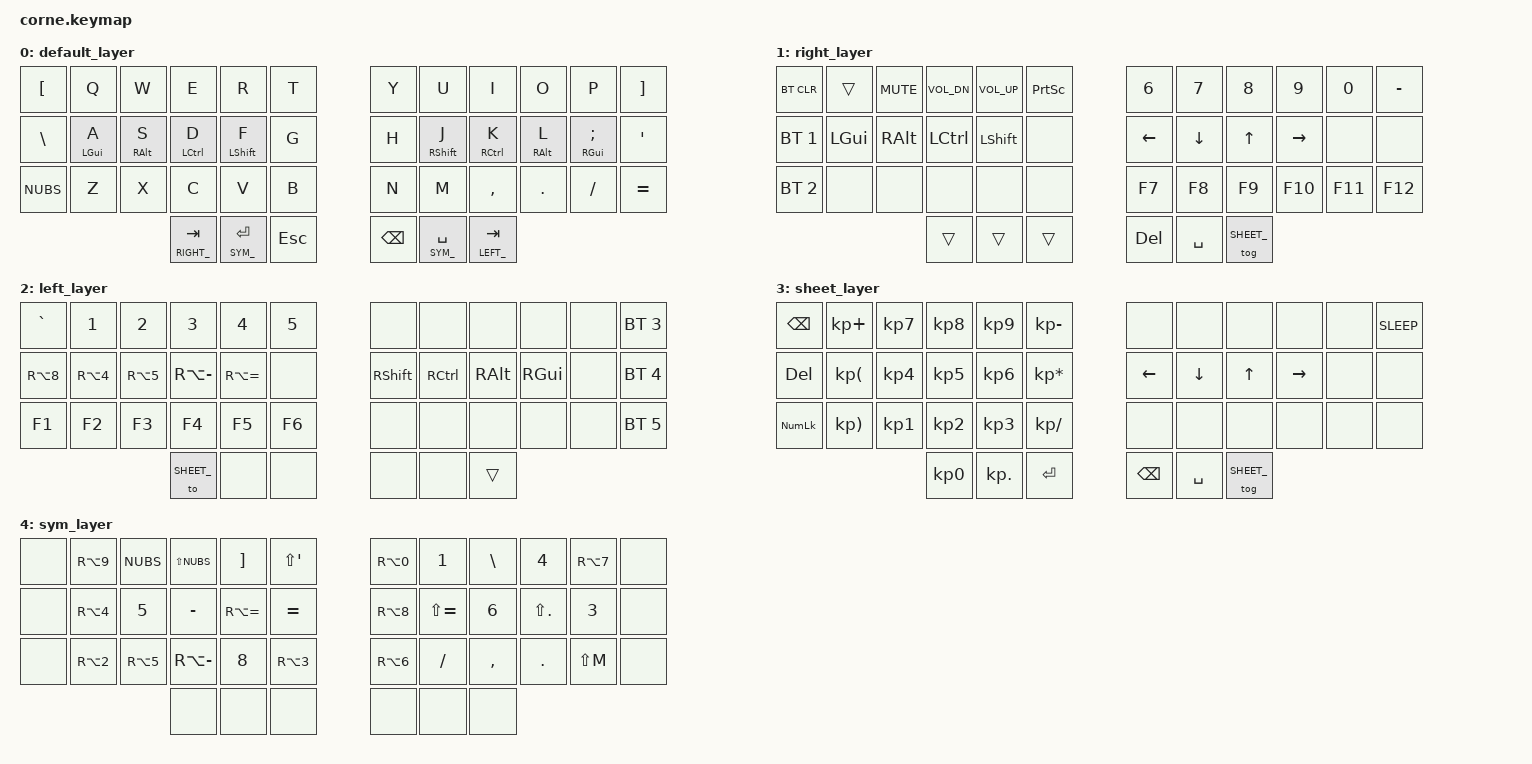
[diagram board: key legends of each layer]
#include <behaviors.dtsi>
#include <dt-bindings/zmk/bt.h>
#include <dt-bindings/zmk/keys.h>

#define DEFAULT 0
#define RIGHT_   1
#define LEFT_    2
#define SHEET_   3
#define SYM_    4

/ {
    behaviors {
        hm: homerow_mods {
            compatible = "zmk,behavior-hold-tap";
            label = "HOMEROW_MODS";
            #binding-cells = <2>;
            tapping-term-ms = <200>;
            quick-tap-ms = <0>;
            flavor = "balanced";
            bindings = <&kp>, <&kp>;
        };
    };

    combos {
        #include "combos.dtsi"
    };

    keymap {
        compatible = "zmk,keymap";

        default_layer {
            // -----------------------------------------------------------------------------------------
            // | [ |  Q  |  W  |  E  |  R  |  T  |   |  Y  |  U   |  I  |  O  |  P  | ] |
            // | \ |  A  |  S  |  D  |  F  |  G  |   |  H  |  J   |  K  |  L  |  ;  |  '   |
            // | < |  Z  |  X  |  C  |  V  |  B  |   |  N  |  M   |  ,  |  .  |  /  | =  |
            //                 | TAB | RET | ESC |   | BKSP | SP  | TAB |

            bindings = <
&kp LBKT  &kp Q       &kp W       &kp E           &kp R        &kp T      &kp Y     &kp U        &kp I          &kp O       &kp P          &kp RBKT
&kp BSLH  &hm LGUI A  &hm RALT S  &hm LCTRL D     &hm LSHFT F  &kp G      &kp H     &hm RSHFT J  &hm RCTRL K    &hm RALT L  &hm RGUI SEMI  &kp SQT
&kp NUBS   &kp Z       &kp X       &kp C           &kp V        &kp B      &kp N     &kp M        &kp COMMA      &kp DOT     &kp FSLH       &kp EQUAL
                                  &lt RIGHT_ TAB  &lt SYM_ RET      &kp ESC    &kp BSPC  &lt SYM_ SPACE    &lt LEFT_ TAB
            >;
        };

        right_layer {
            // -----------------------------------------------------------------------------------------
            // | BTCLR |     |  mute | vold | volu | printS  |    |  6    |  7  |  8  |  9   |  0   | -    |
            // | BT1  | LGUI | RALT | LCTRL | LSHFT |        |    |  LFT  | DWN |  UP | RGT  |      |      |
            // | BT2  |     |     |     |     |     |        |    |  F7   | F8  |  F9 | F10  |  F11 | F12  |
            //                             |     |     |     |    | DEL | SPACE | tog SHEET_ |

            bindings = <
&bt BT_CLR    &trans    &kp C_MUTE  &kp C_VOL_DN  &kp C_VOL_UP  &kp PSCRN    &kp N6    &kp N7     &kp N8       &kp N9     &kp N0   &kp MINUS
&bt BT_SEL 1  &kp LGUI  &kp RALT    &kp LCTRL     &kp LSHFT     &none        &kp LEFT  &kp DOWN   &kp UP       &kp RIGHT  &none    &none
&bt BT_SEL 2  &none     &none       &none         &none         &none        &kp F7    &kp F8     &kp F9       &kp F10    &kp F11  &kp F12
                                    &trans        &trans        &trans       &kp DEL   &kp SPACE  &tog SHEET_
            >;
        };

        left_layer {
            // -----------------------------------------------------------------------------------------
            // |  GRAVE |  1  |  2  |  3  |  4  |  5  |     |    |         |         |        |        | BT3  |
            // |  \     | {   | [   | ]   | }   |     |    | RSHFT   |  RCTRL  | RALT   |  RGUI  | BT4  |
            // |  F1    |  F2 | F3  |  F4 | F5  | F6  |     |    |         |         |        |        | BT5  |
            //                      | tog SHEET_  |     |     |    |         |         |        |

            bindings = <
&kp GRAVE     &kp N1      &kp N2      &kp N3      &kp N4         &kp N5           &none      &none      &none     &none     &none  &bt BT_SEL 3
&kp RA(N8)  &kp RA(N4)  &kp RA(N5)  &kp RA(MINUS)  &kp RA(EQUAL)  &none            &kp RSHFT  &kp RCTRL  &kp RALT  &kp RGUI  &none  &bt BT_SEL 4
&kp F1      &kp F2      &kp F3      &kp F4      &kp F5         &kp F6           &none      &none      &none     &none     &none  &bt BT_SEL 5
                                    &to SHEET_  &none          &none            &none      &none      &trans
            >;
        };

        sheet_layer {
            // -----------------------------------------------------------------------------------------
            // | BSPC  |  + |  7  |  8  |  9  |  -  |   |     |     |     |     |     |      |
            // |  DEL  |  ( |  4  |  5  |  6  |  *  |   | LFT | DWN |  UP | RGT |     |      |
            // | NLoc  |  ) |  1  |  2  |  3  |  /  |   |     |     |     |     |     |      |
            //                    |  0  |  .  | ENT |   | BSPC | SPACE | Tog SHEET_ |

            bindings = <
&kp BSPC    &kp KP_PLUS  &kp KP_N7  &kp KP_N8  &kp KP_N9   &kp KP_MINUS       &none     &none      &none        &none      &none  &kp C_SLEEP
&kp DEL     &kp KP_LPAR  &kp KP_N4  &kp KP_N5  &kp KP_N6   &kp KP_MULTIPLY    &kp LEFT  &kp DOWN   &kp UP       &kp RIGHT  &none  &none
&kp KP_NUM  &kp KP_RPAR  &kp KP_N1  &kp KP_N2  &kp KP_N3   &kp KP_DIVIDE      &none     &none      &none        &none      &none  &none
                                    &kp KP_N0  &kp KP_DOT  &kp RET            &kp BSPC  &kp SPACE  &tog SHEET_
            >;
        };

        sym_layer {
            // -----------------------------------------------------------------------------------------
            // | |  ^ |  <  |  >  |  $  |  %  |    |  @  |  &  |  *  |  '  |  `  |  |
            // | |  { |  (  |  )  |  }  |  =  |    |  \  |  +  |  -  |  /  |  "  |  |
            // | |  ~ |  [  |  ]  |  _  |  #  |    |  |  |  !  |  ;  |  :  |  ?  |  |
            //              |     |     |     |    |     |     |     |

            bindings = <
&none  &kp RA(N9)  &kp NUBS    &kp LS(NUBS)   &kp RBKT       &kp LS(SQT)  &kp RA(N0)  &kp N1        &kp BSLH   &kp N4      &kp RA(N7)  &none
&none  &kp RA(N4)  &kp N5      &kp MINUS      &kp RA(EQUAL)  &kp EQUAL    &kp RA(N8)  &kp LS(EQUAL) &kp N6     &kp LS(DOT) &kp N3      &none
&none  &kp RA(N2)  &kp RA(N5)  &kp RA(MINUS)  &kp N8         &kp RA(N3)   &kp RA(N6)  &kp FSLH      &kp COMMA  &kp DOT     &kp LS(M)   &none
&none &none &none &none &none &none
            >;
        };

    };
};
